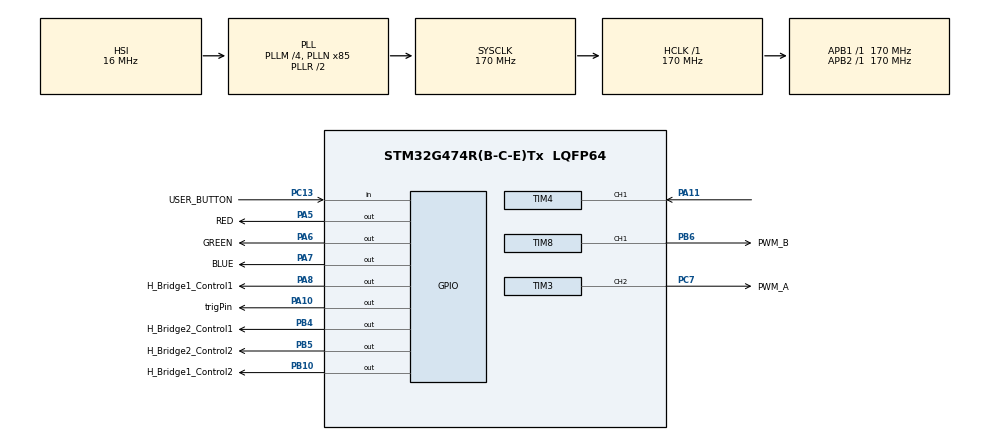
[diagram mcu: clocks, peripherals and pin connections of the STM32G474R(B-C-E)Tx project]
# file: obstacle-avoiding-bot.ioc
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Mcu.Family=STM32G4
Mcu.Name=STM32G474R(B-C-E)Tx
Mcu.Package=LQFP64
NVIC.PriorityGroup=NVIC_PRIORITYGROUP_4
NVIC.TIM1_CC_IRQn=true\:0\:0\:false\:false\:true\:true\:true
NVIC.TIM4_IRQn=true\:0\:0\:false\:false\:true\:true\:true
PA10.GPIO_Label=trigPin
PA10.Signal=GPIO_Output
PA11.Signal=S_TIM4_CH1
PA5.GPIO_Label=RED
PA5.Signal=GPIO_Output
PA6.GPIO_Label=GREEN
PA6.Signal=GPIO_Output
PA7.GPIO_Label=BLUE
PA7.Signal=GPIO_Output
PA8.GPIO_Label=H_Bridge1_Control1
PA8.Signal=GPIO_Output
PB10.GPIO_Label=H_Bridge1_Control2
PB10.Signal=GPIO_Output
PB4.GPIO_Label=H_Bridge2_Control1
PB4.Signal=GPIO_Output
PB5.GPIO_Label=H_Bridge2_Control2
PB5.Signal=GPIO_Output
PB6.GPIO_Label=PWM_B
PB6.Signal=S_TIM8_CH1
PC13.GPIO_Label=USER_BUTTON
PC13.GPIO_PuPd=GPIO_PULLDOWN
PC13.Signal=GPIO_Input
PC7.GPIO_Label=PWM_A
PC7.Signal=S_TIM3_CH2
ProjectManager.HeapSize=0x200
ProjectManager.StackSize=0x400
ProjectManager.TargetToolchain=STM32CubeIDE
RCC.ADC12Freq_Value=170000000
RCC.ADC345Freq_Value=170000000
RCC.AHBFreq_Value=170000000
RCC.APB1Freq_Value=170000000
RCC.APB1TimFreq_Value=170000000
RCC.APB2Freq_Value=170000000
RCC.APB2TimFreq_Value=170000000
RCC.CortexFreq_Value=170000000
RCC.EXTERNAL_CLOCK_VALUE=12288000
RCC.HCLKFreq_Value=170000000
RCC.HSE_VALUE=24000000
RCC.HSI48_VALUE=48000000
RCC.HSI_VALUE=16000000
RCC.LSE_VALUE=32768
RCC.PLLM=RCC_PLLM_DIV4
RCC.PLLN=85
RCC.RTCClockSelection=RCC_RTCCLKSOURCE_LSE
RCC.SYSCLKFreq_VALUE=170000000
RCC.SYSCLKSource=RCC_SYSCLKSOURCE_PLLCLK
RCC.USBFreq_Value=170000000
RCC.VCOOutputFreq_Value=340000000
SH.S_TIM3_CH2.0=TIM3_CH2,PWM Generation2 CH2
SH.S_TIM4_CH1.0=TIM4_CH1,Input_Capture1_from_TI1
SH.S_TIM8_CH1.0=TIM8_CH1,PWM Generation1 CH1
TIM1.PeriodNoDither=0xffff-1
TIM1.Prescaler=170-1
TIM3.AutoReloadPreload=TIM_AUTORELOAD_PRELOAD_ENABLE
TIM3.Channel-PWM\ Generation2\ CH2=TIM_CHANNEL_2
TIM3.PeriodNoDither=100-1
TIM3.Prescaler=1700-1
TIM4.Channel-Input_Capture1_from_TI1=TIM_CHANNEL_1
TIM4.PeriodNoDither=0xffff-1
TIM4.Prescaler=170-1
TIM8.AutoReloadPreload=TIM_AUTORELOAD_PRELOAD_ENABLE
TIM8.Channel-PWM\ Generation1\ CH1=TIM_CHANNEL_1
TIM8.PeriodNoDither=100-1
TIM8.Prescaler=1700-1
VP_SYS_VS_DBSignals.Mode=DisableDeadBatterySignals
VP_TIM1_VS_ClockSourceINT.Mode=Internal
VP_TIM3_VS_ClockSourceINT.Mode=Internal
VP_TIM4_VS_ClockSourceINT.Mode=Internal
board=NUCLEO-G474RE

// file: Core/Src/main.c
/* USER CODE BEGIN Header */
/**
  ******************************************************************************
  * @file           : main.c
  * @brief          : Main program body
  ******************************************************************************
  * @attention
  *
  * <h2><center>&copy; Copyright (c) 2021 STMicroelectronics.
  * All rights reserved.</center></h2>
  *
  * This software component is licensed by ST under BSD 3-Clause license,
  * the "License"; You may not use this file except in compliance with the
  * License. You may obtain a copy of the License at:
  *                        opensource.org/licenses/BSD-3-Clause
  *
  ******************************************************************************
  */
/* USER CODE END Header */
#include "main.h"

/* USER CODE BEGIN Includes */
#include "ultrasonic_sensor.h"
#include "RGB.h"
#include "motor.h"
/* USER CODE END Includes */

TIM_HandleTypeDef htim1;
TIM_HandleTypeDef htim3;
TIM_HandleTypeDef htim4;
TIM_HandleTypeDef htim8;

/* USER CODE BEGIN PV */

float distance;

/* USER CODE END PV */

void SystemClock_Config(void);
static void MX_GPIO_Init(void);
static void MX_TIM1_Init(void);
static void MX_TIM4_Init(void);
static void MX_TIM3_Init(void);
static void MX_TIM8_Init(void);
/* USER CODE BEGIN PFP */
void delay_us(uint16_t us);

/* USER CODE END PFP */

int main(void)
{

  /* MCU Configuration--------------------------------------------------------*/

  /* Reset of all peripherals, Initializes the Flash interface and the Systick. */
  HAL_Init();

  /* Configure the system clock */
  SystemClock_Config();

  /* Initialize all configured peripherals */
  MX_GPIO_Init();
  MX_TIM1_Init();
  MX_TIM4_Init();
  MX_TIM3_Init();
  MX_TIM8_Init();
  /* USER CODE BEGIN 2 */
  HAL_TIM_Base_Start(&htim1);	// start timer1
  HAL_TIM_IC_Start_IT(&htim4, TIM_CHANNEL_1);	// start input capture timer1
  HAL_TIM_PWM_Start(&htim3, TIM_CHANNEL_2);		// start pwm on timer 3 channel 2 (MOTOR A)
  HAL_TIM_PWM_Start(&htim8, TIM_CHANNEL_1);		// start pwm on timer 8 channel 1 (MOTOR B)

  /* USER CODE END 2 */

  /* Infinite loop */
  while (1)
  {

    /* USER CODE BEGIN 3 */

	  distance = getDistance();	//get distance read from HC-SR04

	  if(distance < MIN_DISTANCE)
	  {
		  // Turn on RED LED
		  RGB_SET(1,0,0);

		  // Set motor speeds to 0 for 0.5 seconds
		  setMotorDirection(LOW_STOP);
		  HAL_Delay(500);

		  // Set motor speed to 50
		  setMotorASpeed(60);
		  setMotorBSpeed(55);

		  // Set motor direction to reverse for 1.5 seconds
		  setMotorDirection(REVERSE);
		  HAL_Delay(1500);

		  // Set motor direction to LEFT
		  setMotorDirection(LEFT);
		  HAL_Delay(2000);

	  }
	  else if(distance >= MIN_DISTANCE && distance < MAX_DISTANCE)
	  {
		  // Turn on BLUE LED
		  RGB_SET(0,0,1);

		  // Set motor direction to forward
		  setMotorDirection(FORWARD);

		  // Set motor speed to 60
		  setMotorASpeed(70);
		  setMotorBSpeed(65);
	  }
	  else if(distance >= MAX_DISTANCE)
	  {
		  // Turn on GREEN LED
		  RGB_SET(0,1,0);

		  // Set motor direction to forward
		  setMotorDirection(FORWARD);

		  // Set motor speed to 80
		  setMotorASpeed(100);
		  setMotorBSpeed(95);
	  }

	  HAL_Delay(70);	// delay before getting next distance value

  }
  /* USER CODE END 3 */
}

void SystemClock_Config(void)
{
  RCC_OscInitTypeDef RCC_OscInitStruct = {0};
  RCC_ClkInitTypeDef RCC_ClkInitStruct = {0};

  /** Configure the main internal regulator output voltage
  */
  HAL_PWREx_ControlVoltageScaling(PWR_REGULATOR_VOLTAGE_SCALE1_BOOST);
  /** Initializes the RCC Oscillators according to the specified parameters
  * in the RCC_OscInitTypeDef structure.
  */
  RCC_OscInitStruct.OscillatorType = RCC_OSCILLATORTYPE_HSI;
  RCC_OscInitStruct.HSIState = RCC_HSI_ON;
  RCC_OscInitStruct.HSICalibrationValue = RCC_HSICALIBRATION_DEFAULT;
  RCC_OscInitStruct.PLL.PLLState = RCC_PLL_ON;
  RCC_OscInitStruct.PLL.PLLSource = RCC_PLLSOURCE_HSI;
  RCC_OscInitStruct.PLL.PLLM = RCC_PLLM_DIV4;
  RCC_OscInitStruct.PLL.PLLN = 85;
  RCC_OscInitStruct.PLL.PLLP = RCC_PLLP_DIV2;
  RCC_OscInitStruct.PLL.PLLQ = RCC_PLLQ_DIV2;
  RCC_OscInitStruct.PLL.PLLR = RCC_PLLR_DIV2;
  if (HAL_RCC_OscConfig(&RCC_OscInitStruct) != HAL_OK)
  {
    Error_Handler();
  }
  /** Initializes the CPU, AHB and APB buses clocks
  */
  RCC_ClkInitStruct.ClockType = RCC_CLOCKTYPE_HCLK|RCC_CLOCKTYPE_SYSCLK
                              |RCC_CLOCKTYPE_PCLK1|RCC_CLOCKTYPE_PCLK2;
  RCC_ClkInitStruct.SYSCLKSource = RCC_SYSCLKSOURCE_PLLCLK;
  RCC_ClkInitStruct.AHBCLKDivider = RCC_SYSCLK_DIV1;
  RCC_ClkInitStruct.APB1CLKDivider = RCC_HCLK_DIV1;
  RCC_ClkInitStruct.APB2CLKDivider = RCC_HCLK_DIV1;

  if (HAL_RCC_ClockConfig(&RCC_ClkInitStruct, FLASH_LATENCY_4) != HAL_OK)
  {
    Error_Handler();
  }
}

static void MX_TIM1_Init(void)
{

  TIM_ClockConfigTypeDef sClockSourceConfig = {0};
  TIM_MasterConfigTypeDef sMasterConfig = {0};
  TIM_BreakDeadTimeConfigTypeDef sBreakDeadTimeConfig = {0};

  htim1.Instance = TIM1;
  htim1.Init.Prescaler = 170-1;
  htim1.Init.CounterMode = TIM_COUNTERMODE_UP;
  htim1.Init.Period = 65534;
  htim1.Init.ClockDivision = TIM_CLOCKDIVISION_DIV1;
  htim1.Init.RepetitionCounter = 0;
  htim1.Init.AutoReloadPreload = TIM_AUTORELOAD_PRELOAD_DISABLE;
  if (HAL_TIM_Base_Init(&htim1) != HAL_OK)
  {
    Error_Handler();
  }
  sClockSourceConfig.ClockSource = TIM_CLOCKSOURCE_INTERNAL;
  if (HAL_TIM_ConfigClockSource(&htim1, &sClockSourceConfig) != HAL_OK)
  {
    Error_Handler();
  }
  sMasterConfig.MasterOutputTrigger = TIM_TRGO_RESET;
  sMasterConfig.MasterOutputTrigger2 = TIM_TRGO2_RESET;
  sMasterConfig.MasterSlaveMode = TIM_MASTERSLAVEMODE_DISABLE;
  if (HAL_TIMEx_MasterConfigSynchronization(&htim1, &sMasterConfig) != HAL_OK)
  {
    Error_Handler();
  }
  sBreakDeadTimeConfig.BreakAFMode = TIM_BREAK_AFMODE_INPUT;
  sBreakDeadTimeConfig.Break2AFMode = TIM_BREAK_AFMODE_INPUT;
  if (HAL_TIMEx_ConfigBreakDeadTime(&htim1, &sBreakDeadTimeConfig) != HAL_OK)
  {
    Error_Handler();
  }

}

static void MX_TIM3_Init(void)
{

  TIM_ClockConfigTypeDef sClockSourceConfig = {0};
  TIM_MasterConfigTypeDef sMasterConfig = {0};
  TIM_OC_InitTypeDef sConfigOC = {0};

  htim3.Instance = TIM3;
  htim3.Init.Prescaler = 1700-1;
  htim3.Init.CounterMode = TIM_COUNTERMODE_UP;
  htim3.Init.Period = 99;
  htim3.Init.ClockDivision = TIM_CLOCKDIVISION_DIV1;
  htim3.Init.AutoReloadPreload = TIM_AUTORELOAD_PRELOAD_ENABLE;
  if (HAL_TIM_Base_Init(&htim3) != HAL_OK)
  {
    Error_Handler();
  }
  sClockSourceConfig.ClockSource = TIM_CLOCKSOURCE_INTERNAL;
  if (HAL_TIM_ConfigClockSource(&htim3, &sClockSourceConfig) != HAL_OK)
  {
    Error_Handler();
  }
  if (HAL_TIM_PWM_Init(&htim3) != HAL_OK)
  {
    Error_Handler();
  }
  sMasterConfig.MasterOutputTrigger = TIM_TRGO_RESET;
  sMasterConfig.MasterSlaveMode = TIM_MASTERSLAVEMODE_DISABLE;
  if (HAL_TIMEx_MasterConfigSynchronization(&htim3, &sMasterConfig) != HAL_OK)
  {
    Error_Handler();
  }
  sConfigOC.OCMode = TIM_OCMODE_PWM1;
  sConfigOC.Pulse = 0;
  sConfigOC.OCPolarity = TIM_OCPOLARITY_HIGH;
  sConfigOC.OCFastMode = TIM_OCFAST_DISABLE;
  if (HAL_TIM_PWM_ConfigChannel(&htim3, &sConfigOC, TIM_CHANNEL_2) != HAL_OK)
  {
    Error_Handler();
  }
  HAL_TIM_MspPostInit(&htim3);

}

static void MX_TIM4_Init(void)
{

  TIM_ClockConfigTypeDef sClockSourceConfig = {0};
  TIM_MasterConfigTypeDef sMasterConfig = {0};
  TIM_IC_InitTypeDef sConfigIC = {0};

  htim4.Instance = TIM4;
  htim4.Init.Prescaler = 170-1;
  htim4.Init.CounterMode = TIM_COUNTERMODE_UP;
  htim4.Init.Period = 65534;
  htim4.Init.ClockDivision = TIM_CLOCKDIVISION_DIV1;
  htim4.Init.AutoReloadPreload = TIM_AUTORELOAD_PRELOAD_DISABLE;
  if (HAL_TIM_Base_Init(&htim4) != HAL_OK)
  {
    Error_Handler();
  }
  sClockSourceConfig.ClockSource = TIM_CLOCKSOURCE_INTERNAL;
  if (HAL_TIM_ConfigClockSource(&htim4, &sClockSourceConfig) != HAL_OK)
  {
    Error_Handler();
  }
  if (HAL_TIM_IC_Init(&htim4) != HAL_OK)
  {
    Error_Handler();
  }
  sMasterConfig.MasterOutputTrigger = TIM_TRGO_RESET;
  sMasterConfig.MasterSlaveMode = TIM_MASTERSLAVEMODE_DISABLE;
  if (HAL_TIMEx_MasterConfigSynchronization(&htim4, &sMasterConfig) != HAL_OK)
  {
    Error_Handler();
  }
  sConfigIC.ICPolarity = TIM_INPUTCHANNELPOLARITY_RISING;
  sConfigIC.ICSelection = TIM_ICSELECTION_DIRECTTI;
  sConfigIC.ICPrescaler = TIM_ICPSC_DIV1;
  sConfigIC.ICFilter = 0;
  if (HAL_TIM_IC_ConfigChannel(&htim4, &sConfigIC, TIM_CHANNEL_1) != HAL_OK)
  {
    Error_Handler();
  }

}

static void MX_TIM8_Init(void)
{

  TIM_MasterConfigTypeDef sMasterConfig = {0};
  TIM_OC_InitTypeDef sConfigOC = {0};
  TIM_BreakDeadTimeConfigTypeDef sBreakDeadTimeConfig = {0};

  htim8.Instance = TIM8;
  htim8.Init.Prescaler = 1700-1;
  htim8.Init.CounterMode = TIM_COUNTERMODE_UP;
  htim8.Init.Period = 99;
  htim8.Init.ClockDivision = TIM_CLOCKDIVISION_DIV1;
  htim8.Init.RepetitionCounter = 0;
  htim8.Init.AutoReloadPreload = TIM_AUTORELOAD_PRELOAD_ENABLE;
  if (HAL_TIM_PWM_Init(&htim8) != HAL_OK)
  {
    Error_Handler();
  }
  sMasterConfig.MasterOutputTrigger = TIM_TRGO_RESET;
  sMasterConfig.MasterOutputTrigger2 = TIM_TRGO2_RESET;
  sMasterConfig.MasterSlaveMode = TIM_MASTERSLAVEMODE_DISABLE;
  if (HAL_TIMEx_MasterConfigSynchronization(&htim8, &sMasterConfig) != HAL_OK)
  {
    Error_Handler();
  }
  sConfigOC.OCMode = TIM_OCMODE_PWM1;
  sConfigOC.Pulse = 0;
  sConfigOC.OCPolarity = TIM_OCPOLARITY_HIGH;
  sConfigOC.OCNPolarity = TIM_OCNPOLARITY_HIGH;
  sConfigOC.OCFastMode = TIM_OCFAST_DISABLE;
  sConfigOC.OCIdleState = TIM_OCIDLESTATE_RESET;
  sConfigOC.OCNIdleState = TIM_OCNIDLESTATE_RESET;
  if (HAL_TIM_PWM_ConfigChannel(&htim8, &sConfigOC, TIM_CHANNEL_1) != HAL_OK)
  {
    Error_Handler();
  }
  sBreakDeadTimeConfig.OffStateRunMode = TIM_OSSR_DISABLE;
  sBreakDeadTimeConfig.OffStateIDLEMode = TIM_OSSI_DISABLE;
  sBreakDeadTimeConfig.LockLevel = TIM_LOCKLEVEL_OFF;
  sBreakDeadTimeConfig.DeadTime = 0;
  sBreakDeadTimeConfig.BreakState = TIM_BREAK_DISABLE;
  sBreakDeadTimeConfig.BreakPolarity = TIM_BREAKPOLARITY_HIGH;
  sBreakDeadTimeConfig.BreakFilter = 0;
  sBreakDeadTimeConfig.BreakAFMode = TIM_BREAK_AFMODE_INPUT;
  sBreakDeadTimeConfig.Break2State = TIM_BREAK2_DISABLE;
  sBreakDeadTimeConfig.Break2Polarity = TIM_BREAK2POLARITY_HIGH;
  sBreakDeadTimeConfig.Break2Filter = 0;
  sBreakDeadTimeConfig.Break2AFMode = TIM_BREAK_AFMODE_INPUT;
  sBreakDeadTimeConfig.AutomaticOutput = TIM_AUTOMATICOUTPUT_DISABLE;
  if (HAL_TIMEx_ConfigBreakDeadTime(&htim8, &sBreakDeadTimeConfig) != HAL_OK)
  {
    Error_Handler();
  }
  HAL_TIM_MspPostInit(&htim8);

}

static void MX_GPIO_Init(void)
{
  GPIO_InitTypeDef GPIO_InitStruct = {0};

  /* GPIO Ports Clock Enable */
  __HAL_RCC_GPIOC_CLK_ENABLE();
  __HAL_RCC_GPIOA_CLK_ENABLE();
  __HAL_RCC_GPIOB_CLK_ENABLE();

  /*Configure GPIO pin Output Level */
  HAL_GPIO_WritePin(GPIOA, RED_Pin|GREEN_Pin|BLUE_Pin|H_Bridge1_Control1_Pin
                          |trigPin_Pin, GPIO_PIN_RESET);

  /*Configure GPIO pin Output Level */
  HAL_GPIO_WritePin(GPIOB, H_Bridge1_Control2_Pin|H_Bridge2_Control1_Pin|H_Bridge2_Control2_Pin, GPIO_PIN_RESET);

  /*Configure GPIO pin : USER_BUTTON_Pin */
  GPIO_InitStruct.Pin = USER_BUTTON_Pin;
  GPIO_InitStruct.Mode = GPIO_MODE_INPUT;
  GPIO_InitStruct.Pull = GPIO_PULLDOWN;
  HAL_GPIO_Init(USER_BUTTON_GPIO_Port, &GPIO_InitStruct);

  /*Configure GPIO pins : RED_Pin GREEN_Pin BLUE_Pin H_Bridge1_Control1_Pin
                           trigPin_Pin */
  GPIO_InitStruct.Pin = RED_Pin|GREEN_Pin|BLUE_Pin|H_Bridge1_Control1_Pin
                          |trigPin_Pin;
  GPIO_InitStruct.Mode = GPIO_MODE_OUTPUT_PP;
  GPIO_InitStruct.Pull = GPIO_NOPULL;
  GPIO_InitStruct.Speed = GPIO_SPEED_FREQ_LOW;
  HAL_GPIO_Init(GPIOA, &GPIO_InitStruct);

  /*Configure GPIO pins : H_Bridge1_Control2_Pin H_Bridge2_Control1_Pin H_Bridge2_Control2_Pin */
  GPIO_InitStruct.Pin = H_Bridge1_Control2_Pin|H_Bridge2_Control1_Pin|H_Bridge2_Control2_Pin;
  GPIO_InitStruct.Mode = GPIO_MODE_OUTPUT_PP;
  GPIO_InitStruct.Pull = GPIO_NOPULL;
  GPIO_InitStruct.Speed = GPIO_SPEED_FREQ_LOW;
  HAL_GPIO_Init(GPIOB, &GPIO_InitStruct);

}

/* USER CODE BEGIN 4 */
void delay_us(uint16_t us)
{
	// set the counter value to 0
	__HAL_TIM_SET_COUNTER(&htim1,0);

	// wait for the counter to reach the us input in the parameter
	while(__HAL_TIM_GET_COUNTER(&htim1) < us);
}

/* USER CODE END 4 */

void Error_Handler(void)
{
  __disable_irq();
  while (1)
  {
  }
}

/************************ (C) COPYRIGHT STMicroelectronics *****END OF FILE****/
